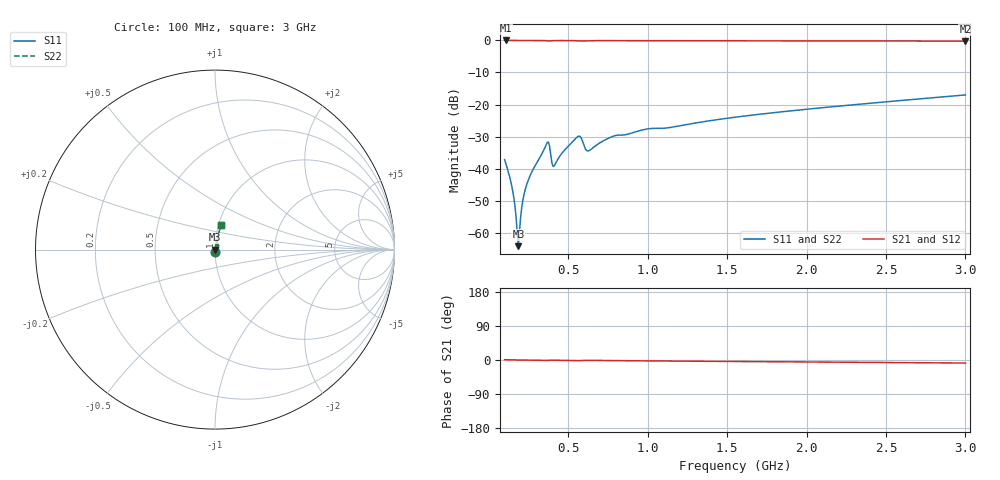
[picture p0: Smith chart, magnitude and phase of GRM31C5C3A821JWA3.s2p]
!Murata Part Number: GRM31C5C3A821JWA3
!These Parameters are Measured in Series Mode Connection
!Data Generated on Mar 30, 2021
!  o--ll--o
!Port1  Port2
!  o------o
!Operation Temp=25[degC], DC Bias Voltage=0[V]
!Freq. Start=100[MHz] Stop=3[GHz] 401[Steps]
# Hz S RI R 50
!Freq.(Hz) S11(Real) S11(Imag) S21(Real) S21(Imag) S12(Real) S12(Imag) S22(Real) S22(Imag)
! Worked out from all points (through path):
!   401 points, 100 MHz to 3 GHz, reference 50 ohm
!   highest |S21| = 0.00 dB at 107.2 MHz (marker M1); lowest = -0.2 dB at 3 GHz (marker M2)
!   group delay of S21, straight-line fit = 7.5 ps
!   lowest |S11| = -64.2 dB at 187 MHz (marker M3), VSWR 1.00, Z = 50.1 + j0.00845 ohm
!   |S11| at or under -10 dB: start of sweep to end of sweep
!   |S22| runs from -64.2 to -17.0 dB; largest |S21 - S12| = 0
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1e8  0.000552 -0.0138  0.9994 0.0138  0.9994 0.0138  0.000552 -0.0138
1.0725e8  0.000527 -0.0121  0.9995 0.0121  0.9995 0.0121  0.000527 -0.0121
1.435e8  0.000508 -0.00556  0.9995 0.00556  0.9995 0.00556  0.000508 -0.00556
1.58e8  0.00053 -0.0035  0.9995 0.0035  0.9995 0.0035  0.00053 -0.0035
1.725e8  0.000565 -0.00163  0.9994 0.00163  0.9994 0.00163  0.000565 -0.00163
1.87e8  0.000611 8.44e-05  0.9994 -8.44e-05  0.9994 -8.44e-05  0.000611 8.44e-05
1.9425e8  0.000639 0.000902  0.9994 -0.000902  0.9994 -0.000902  0.000639 0.000902
2.2325e8  0.000778 0.00398  0.9992 -0.00398  0.9992 -0.00398  0.000778 0.00398
2.45e8  0.000921 0.00618  0.9991 -0.00618  0.9991 -0.00618  0.000921 0.00618
3.61e8  0.00875 0.0218  0.9912 -0.0218  0.9912 -0.0218  0.00875 0.0218
3.755e8  0.0179 0.019  0.9821 -0.019  0.9821 -0.019  0.0179 0.019
4.1175e8  0.00578 0.00937  0.9942 -0.00937  0.9942 -0.00937  0.00578 0.00937
5.495e8  0.0101 0.0283  0.9899 -0.0283  0.9899 -0.0283  0.0101 0.0283
5.8575e8  0.0197 0.021  0.9803 -0.021  0.9803 -0.021  0.0197 0.021
6.075e8  0.0137 0.0153  0.9863 -0.0153  0.9863 -0.0153  0.0137 0.0153
6.2925e8  0.00867 0.0169  0.9913 -0.0169  0.9913 -0.0169  0.00867 0.0169
7.8875e8  0.00747 0.0315  0.9925 -0.0315  0.9925 -0.0315  0.00747 0.0315
1.0715e9  0.0121 0.0407  0.9879 -0.0407  0.9879 -0.0407  0.0121 0.0407
1.55e9  0.0126 0.0621  0.9874 -0.0621  0.9874 -0.0621  0.0126 0.0621
2.03575e9  0.0183 0.0842  0.9817 -0.0842  0.9817 -0.0842  0.0183 0.0842
2.5215e9  0.0253 0.1086  0.9747 -0.1086  0.9747 -0.1086  0.0253 0.1086
3e9  0.0351 0.1369  0.9649 -0.1369  0.9649 -0.1369  0.0351 0.1369
